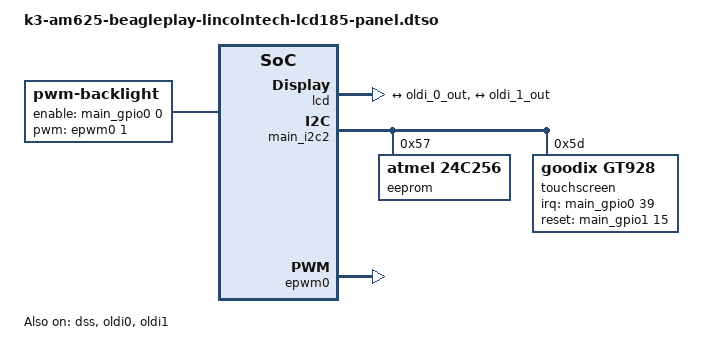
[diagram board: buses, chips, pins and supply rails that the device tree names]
// SPDX-License-Identifier: GPL-2.0-or-later OR MIT
/**
 * Lincoln tech Solutions OLDI panel (LCD185-101CT) and touch DT overlay for AM625-BeaglePlay
 *
 * AM625-BeaglePlay: https://www.beagleboard.org/boards/beagleplay
 * Panel datasheet: https://lincolntechsolutions.com/wp-content/uploads/2023/04/LCD185-101CTL1ARNTT_DS_R1.3.pdf
 *
 * Copyright (C) 2024 Texas Instruments Incorporated - http://www.ti.com/
 */

/dts-v1/;
/plugin/;

#include <dt-bindings/gpio/gpio.h>
#include <dt-bindings/interrupt-controller/irq.h>

&{/} {
	backlight: backlight {
		compatible = "pwm-backlight";
		pinctrl-names = "default";
		pinctrl-0 = <&backlight_pins_default>;
		brightness-levels = <0 4 8 16 32 64 128 255>;
		default-brightness-level = <6>;
		enable-gpios = <&main_gpio0 0 GPIO_ACTIVE_HIGH>;
		pwms = <&epwm0 1 20000 0>;
	};

	lcd {
		compatible = "lincolntech,lcd185-101ct", "panel-simple";
		backlight = <&backlight>;
		/*
		* Note that the OLDI TX 0 transmits the odd set of pixels
		* while the OLDI TX 1 transmits the even set. This is a
		* fixed configuration in the IP integration and is not
		* changeable. The properties, "dual-lvds-odd-pixels" and
		* "dual-lvds-even-pixels" have been used to merely
		* identify if a Dual Link configuration is required.
		* Swapping them will cause an error in the dss oldi driver.
		*/
		ports {
			#address-cells = <1>;
			#size-cells = <0>;

			port@0 {
				reg = <0>;
				dual-lvds-odd-pixels;
				lcd_in0: endpoint {
					remote-endpoint = <&oldi_0_out>;
				};
			};
			port@1 {
				reg = <1>;
				dual-lvds-even-pixels;
				lcd_in1: endpoint {
					remote-endpoint = <&oldi_1_out>;
				};
			};
		};
	};
};

&dss {
	status = "okay";
};

&oldi0 {
	status = "okay";
};

&oldi1 {
	status = "okay";
};

&oldi0_ports {
	#address-cells = <1>;
	#size-cells = <0>;

	port@0 {
		reg = <0>;
		oldi_0_in: endpoint {
			remote-endpoint = <&dpi0_out0>;
		};
	};

	port@1 {
		reg = <1>;
		oldi_0_out: endpoint {
			remote-endpoint = <&lcd_in0>;
		};
	};
};

&oldi1_ports {
	#address-cells = <1>;
	#size-cells = <0>;

	port@0 {
		reg = <0>;
		oldi_1_in: endpoint {
			remote-endpoint = <&dpi0_out1>;
		};
	};

	port@1 {
		reg = <1>;
		oldi_1_out: endpoint {
			remote-endpoint = <&lcd_in1>;
		};
	};
};

&dss_ports {
	#address-cells = <1>;
	#size-cells = <0>;

	/* VP1: Output to OLDI */
	port@0 {
		reg = <0>;
		#address-cells = <1>;
		#size-cells = <0>;

		dpi0_out0: endpoint@0 {
			reg = <0>;
			remote-endpoint = <&oldi_0_in>;
		};
		dpi0_out1: endpoint@1 {
			reg = <1>;
			remote-endpoint = <&oldi_1_in>;
		};
	};
};

&main_i2c2 {
	#address-cells = <1>;
	#size-cells = <0>;

	eeprom@57 {
		compatible = "atmel,24c256";
		reg = <0x57>;
	};

	touchscreen@5d {
		compatible = "goodix,gt928";
		reg = <0x5d>;
		pinctrl-names = "default";
	        pinctrl-0 = <&touchscreen_pins_default>;
		interrupt-parent = <&main_gpio0>;
		interrupts = <39 IRQ_TYPE_EDGE_FALLING>;
		irq-gpios = <&main_gpio0 39 GPIO_ACTIVE_HIGH>;
		reset-gpios = <&main_gpio1 15 GPIO_ACTIVE_HIGH>;
		touchscreen-size-x = <1920>;
		touchscreen-size-y = <1200>;
	};
};

&epwm0 {
	status = "okay";
};
